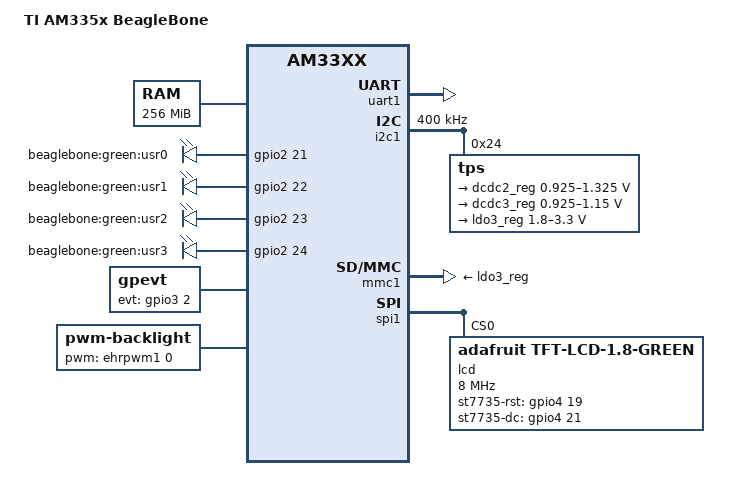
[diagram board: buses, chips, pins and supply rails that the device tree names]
/*
 * Copyright (C) 2012 Texas Instruments Incorporated - http://www.ti.com/
 *
 * This program is free software; you can redistribute it and/or modify
 * it under the terms of the GNU General Public License version 2 as
 * published by the Free Software Foundation.
 */

/include/ "am33xx.dtsi"

/ {
	model = "TI AM335x BeagleBone";
	compatible = "ti,am335x-bone", "ti,am33xx";

	cpus {
		cpu@0 {
			cpu0-supply = <&dcdc2_reg>;
		};
	};

	memory {
		device_type = "memory";
		reg = <0x80000000 0x10000000>; /* 256 MB */
	};

	am3358_pinmux: pinmux@44e10800 {
		spi1_pins: pinmux_spi1_pins {
			pinctrl-single,pins = <
				0x190 0x13	/* mcasp0_aclkx.spi1_sclk, OUTPUT_PULLUP | MODE3 */
				0x194 0x33	/* mcasp0_fsx.spi1_d0, INPUT_PULLUP | MODE3 */
				0x198 0x13	/* mcasp0_axr0.spi1_d1, OUTPUT_PULLUP | MODE3 */
				0x19c 0x13	/* mcasp0_ahclkr.spi1_cs0, OUTPUT_PULLUP | MODE3 */
			>;
		};
		lcd_pins: pinmux_lcd_pins {
			pinctrl-single,pins = <
				0x1a4 0x17	/* mcasp0_fsr.gpio3_19, OUTPUT_PULLUP | MODE7 */
				0x1ac 0x17	/* mcasp0_ahclkx.gpio3_21, OUTPUT_PULLUP | MODE7 */
			>;
		};
		gpevt_pins: pinmux_gpevt_pins {
			pinctrl-single,pins = <
				0x090 0x37	/* gpmc_advn_ale.gpio2_2, INPUT_PULLUP | MODE7 */
			>;
		};
		userled_pins: pinmux_userled_pins {
			pinctrl-single,pins = <
				0x54 0x7	/* gpmc_a5.gpio1_21, OUTPUT | MODE7 */
				0x58 0x17	/* gpmc_a6.gpio1_22, OUTPUT_PULLUP | MODE7 */
				0x5c 0x7	/* gpmc_a7.gpio1_23, OUTPUT | MODE7 */
				0x60 0x17	/* gpmc_a8.gpio1_24, OUTPUT_PULLUP | MODE7 */
			>;
		};
	};

	ocp {
		uart1: serial@44e09000 {
			status = "okay";
		};

		gpio-leds {
			compatible = "gpio-leds";
			pinctrl-names = "default";
			pinctrl-0 = <&userled_pins>;

			led0 {
				label = "beaglebone:green:usr0";
				gpios = <&gpio2 21 0>;
				linux,default-trigger = "heartbeat";
				default-state = "off";
			};

			led1 {
				label = "beaglebone:green:usr1";
				gpios = <&gpio2 22 0>;
				linux,default-trigger = "mmc0";
				default-state = "off";
			};

			led2 {
				label = "beaglebone:green:usr2";
				gpios = <&gpio2 23 0>;
				linux,default-trigger = "cpu0";
				default-state = "off";
			};

			led3 {
				label = "beaglebone:green:usr3";
				gpios = <&gpio2 24 0>;
				default-state = "off";
			};
		};

		i2c1: i2c@44e0b000 {
			status = "okay";
			clock-frequency = <400000>;

			tps: tps@24 {
				reg = <0x24>;
			};

		};

		gpevt {
			compatible = "gpevt";
			pinctrl-names = "default";
			pinctrl-0 = <&gpevt_pins>;
			dmas = <&edma 12>;
			dma-names = "gpioevt";
			gpio-evt = <&gpio3 2 0>;
		};
	};

	backlight {
			compatible	= "pwm-backlight"; 
			pwms = <&ehrpwm1 0 500000 0>;
			pwm-names = "st7735fb";
			brightness-levels = <0 1 2 3 4 5 6 7 8 9 10 11 12 13 14 15 16 17 18 19 20 21 22 23 24 25 26 27 28 29 30 31 32 33 34 35 36 37 38 39 40 41 42 43 44 45 46 47 48 49 50 51 52 53 54 55 56 57 58 59 60 61 62 63 64 65 66 67 68 69 70 71 72 73 74 75 76 77 78 79 80 81 82 83 84 85 86 87 88 89 90 91 92 93 94 95 96 97 98 99 100>;
			default-brightness-level = <50>; /* index to the array above */ 
		};
};

/include/ "tps65217.dtsi"

&tps {
	regulators {
		dcdc1_reg: regulator@0 {
			regulator-always-on;
		};

		dcdc2_reg: regulator@1 {
			/* VDD_MPU voltage limits 0.95V - 1.26V with +/-4% tolerance */
			regulator-name = "vdd_mpu";
			regulator-min-microvolt = <925000>;
			regulator-max-microvolt = <1325000>;
			regulator-boot-on;
			regulator-always-on;
		};

		dcdc3_reg: regulator@2 {
			/* VDD_CORE voltage limits 0.95V - 1.1V with +/-4% tolerance */
			regulator-name = "vdd_core";
			regulator-min-microvolt = <925000>;
			regulator-max-microvolt = <1150000>;
			regulator-boot-on;
			regulator-always-on;
		};

		ldo1_reg: regulator@3 {
			regulator-always-on;
		};

		ldo2_reg: regulator@4 {
			regulator-always-on;
		};

		ldo3_reg: regulator@5 {
			regulator-min-microvolt = <1800000>;
			regulator-max-microvolt = <3300000>;
			regulator-always-on;
		};

		ldo4_reg: regulator@6 {
			regulator-always-on;
		};
	};
};

&mmc1 {
	vmmc-supply = <&ldo3_reg>;
};

&spi1 {
	status = "okay";
	pinctrl-names = "default";
	pinctrl-0 = <&spi1_pins>;

	lcd@0 {
		compatible = "adafruit,tft-lcd-1.8-green", "sitronix,st7735";
		spi-max-frequency = <8000000>;
		reg = <0>;
		spi-cpol;
		spi-cpha;
		pinctrl-names = "default";
		pinctrl-0 = <&lcd_pins>;
		st7735-rst = <&gpio4 19 0>;
		st7735-dc = <&gpio4 21 0>;
	};
};

&edma {
	ti,edma-xbar-event-map = <32 12>;
};

&cpsw_emac0 {
	phy_id = "4a101000.mdio:00";
};

&cpsw_emac1 {
	phy_id = "4a101000.mdio:01";
};
